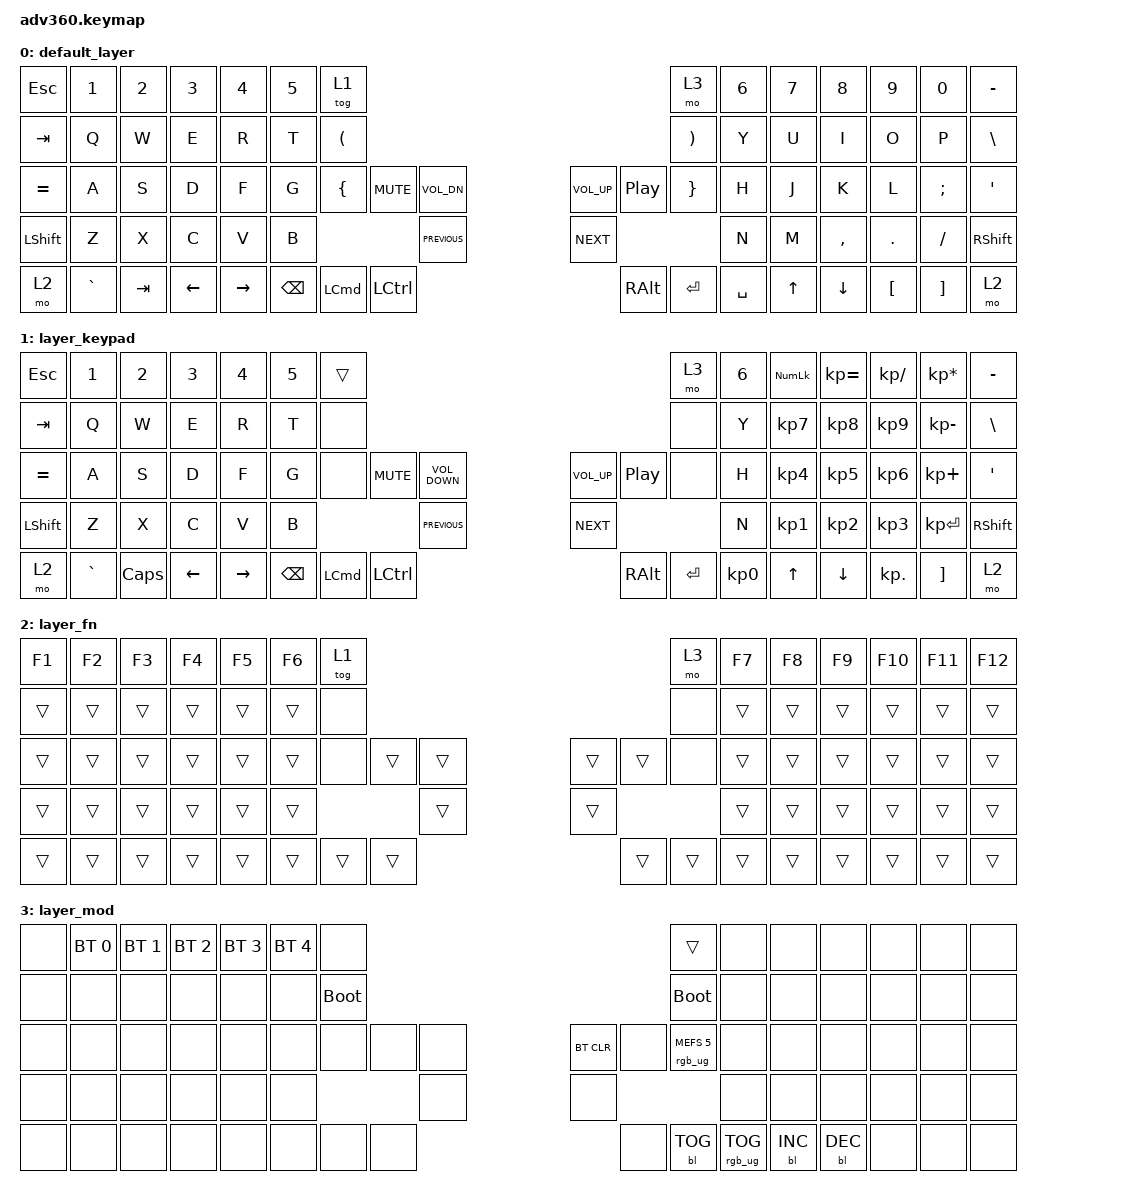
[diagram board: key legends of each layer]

/*
 * Copyright (c) 2020 The ZMK Contributors
 *
 * SPDX-License-Identifier: MIT
 */


/* THIS FILE WAS GENERATED!
 *
 * This file was generated automatically. You may or may not want to
 * edit it directly.
 */

#include <behaviors.dtsi>
#include <dt-bindings/zmk/keys.h>
#include <dt-bindings/zmk/bt.h>
#include <dt-bindings/zmk/rgb.h>
#include <dt-bindings/zmk/backlight.h>

/ {
  behaviors {
    #include "macros.dtsi"

    hm: homerow_mods {
        compatible = "zmk,behavior-hold-tap";
        label = "HOMEROW_MODS";
        #binding-cells = <2>;
        tapping-term-ms = <200>;
        quick_tap_ms = <175>;
        flavor = "tap-preferred";
        bindings = <&kp>, <&kp>;
    };
  };

    keymap {
        compatible = "zmk,keymap";


        default_layer {
            bindings = <
 &kp ESCAPE     &kp N1   &kp N2          &kp N3           &kp N4  &kp N5                          &tog 1                                                                                                       &mo 3  &kp N6        &kp N7          &kp N8    &kp N9    &kp N0        &kp MINUS
    &kp TAB      &kp Q    &kp W           &kp E            &kp R   &kp T            &kp LEFT_PARENTHESIS                                                                                       &kp RIGHT_PARENTHESIS   &kp Y         &kp U           &kp I     &kp O     &kp P         &kp BSLH
  &kp EQUAL      &kp A    &kp S           &kp D            &kp F   &kp G                  &kp LEFT_BRACE        &kp C_MUTE      &kp C_VOL_DN                   &kp C_VOL_UP  &kp C_PLAY_PAUSE        &kp RIGHT_BRACE   &kp H         &kp J           &kp K     &kp L  &kp SEMI          &kp SQT
  &kp LSHFT      &kp Z    &kp X           &kp C            &kp V   &kp B                                                      &kp C_PREVIOUS                     &kp C_NEXT                                            &kp N         &kp M       &kp COMMA   &kp DOT  &kp FSLH  &kp RIGHT_SHIFT
      &mo 2  &kp GRAVE  &kp TAB  &kp LEFT_ARROW  &kp RIGHT_ARROW                                &kp BSPC  &kp LEFT_COMMAND  &kp LEFT_CONTROL                  &kp RIGHT_ALT         &kp ENTER              &kp SPACE          &kp UP_ARROW  &kp DOWN_ARROW  &kp LBKT  &kp RBKT            &mo 2
            >;
        };

        layer_keypad {
            bindings = <
 &kp ESCAPE     &kp N1    &kp N2    &kp N3     &kp N4  &kp N5              &trans                                                                                              &mo 3  &kp N6  &kp KP_NUM  &kp KP_EQUAL  &kp KP_DIVIDE  &kp KP_MULTIPLY  &kp MINUS
    &kp TAB      &kp Q     &kp W     &kp E      &kp R   &kp T               &none                                                                                              &none   &kp Y   &kp KP_N7     &kp KP_N8      &kp KP_N9     &kp KP_MINUS   &kp BSLH
  &kp EQUAL      &kp A     &kp S     &kp D      &kp F   &kp G               &none        &kp C_MUTE  &kp C_VOLUME_DOWN                  &kp C_VOLUME_UP  &kp C_PLAY_PAUSE      &none   &kp H   &kp KP_N4     &kp KP_N5      &kp KP_N6      &kp KP_PLUS    &kp SQT
  &kp LSHFT      &kp Z     &kp X     &kp C      &kp V   &kp B                                           &kp C_PREVIOUS                       &kp C_NEXT                                &kp N   &kp KP_N1     &kp KP_N2      &kp KP_N3     &kp KP_ENTER  &kp RSHFT
      &mo 2  &kp GRAVE  &kp CAPS  &kp LEFT  &kp RIGHT                    &kp BSPC  &kp LEFT_COMMAND   &kp LEFT_CONTROL                    &kp RIGHT_ALT         &kp ENTER  &kp KP_N0              &kp UP      &kp DOWN     &kp KP_DOT         &kp RBKT      &mo 2
            >;
        };

        layer_fn {
            bindings = <
 &kp F1  &kp F2  &kp F3  &kp F4  &kp F5  &kp F6            &tog 1                                                   &mo 3  &kp F7  &kp F8  &kp F9  &kp F10  &kp F11  &kp F12
 &trans  &trans  &trans  &trans  &trans  &trans             &none                                                   &none  &trans  &trans  &trans   &trans   &trans   &trans
 &trans  &trans  &trans  &trans  &trans  &trans             &none  &trans  &trans                  &trans  &trans   &none  &trans  &trans  &trans   &trans   &trans   &trans
 &trans  &trans  &trans  &trans  &trans  &trans                            &trans                  &trans                  &trans  &trans  &trans   &trans   &trans   &trans
 &trans  &trans  &trans  &trans  &trans                    &trans  &trans  &trans                  &trans  &trans  &trans          &trans  &trans   &trans   &trans   &trans
            >;
        };

        layer_mod {
            bindings = <
  &none  &bt BT_SEL 0  &bt BT_SEL 1  &bt BT_SEL 2  &bt BT_SEL 3  &bt BT_SEL 4                  &none                                                                          &trans   &none       &none       &none   &none   &none   &none
  &none         &none         &none         &none         &none         &none            &bootloader                                                                     &bootloader   &none       &none       &none   &none   &none   &none
  &none         &none         &none         &none         &none         &none                  &none   &none   &none                  &bt BT_CLR       &none  &rgb_ug RGB_MEFS_CMD 5   &none       &none       &none   &none   &none   &none
  &none         &none         &none         &none         &none         &none                                  &none                       &none                                       &none       &none       &none   &none   &none   &none
  &none         &none         &none         &none         &none                                &none   &none   &none                       &none  &bl BL_TOG         &rgb_ug RGB_TOG          &bl BL_INC  &bl BL_DEC   &none   &none   &none
            >;
        };

    };
};
